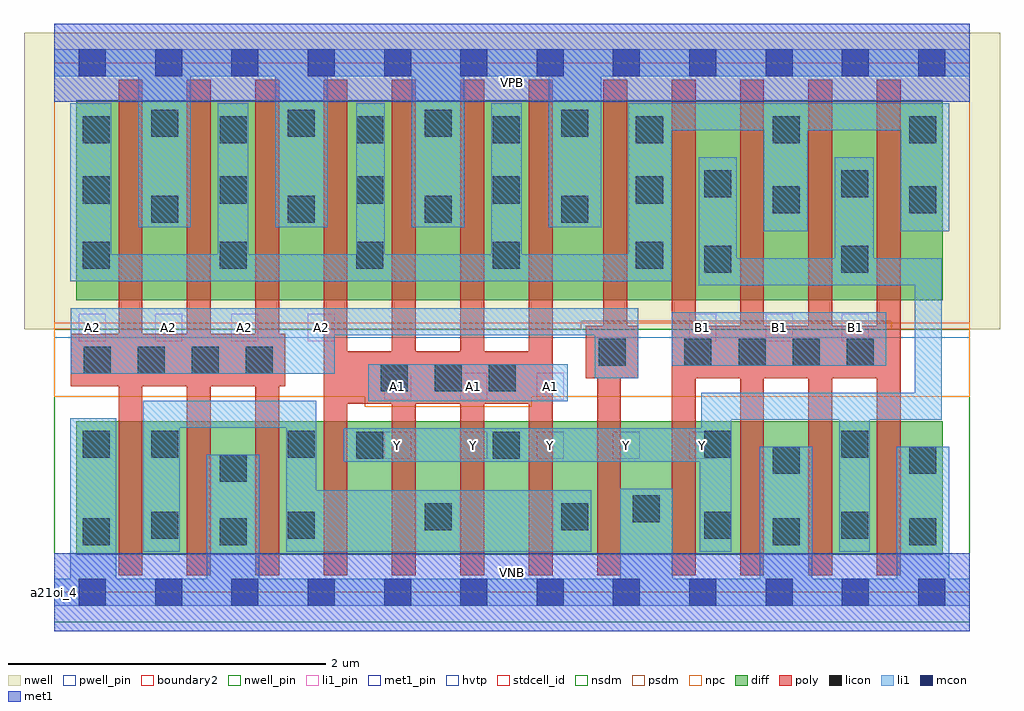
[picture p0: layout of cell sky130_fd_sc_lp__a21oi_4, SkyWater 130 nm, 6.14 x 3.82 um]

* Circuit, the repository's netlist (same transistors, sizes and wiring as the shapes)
* Copyright 2020 The SkyWater PDK Authors
*
* Licensed under the Apache License, Version 2.0 (the "License");
* you may not use this file except in compliance with the License.
* You may obtain a copy of the License at
*
*     https://www.apache.org/licenses/LICENSE-2.0
*
* Unless required by applicable law or agreed to in writing, software
* distributed under the License is distributed on an "AS IS" BASIS,
* WITHOUT WARRANTIES OR CONDITIONS OF ANY KIND, either express or implied.
* See the License for the specific language governing permissions and
* limitations under the License.
*
* SPDX-License-Identifier: Apache-2.0

.SUBCKT sky130_fd_sc_lp__a21oi_4 A1 A2 B1 VGND VNB VPB VPWR Y
*.PININFO A1:I A2:I B1:I VGND:I VNB:I VPB:I VPWR:I Y:O
MMPA0 pndA A1 VPWR VPB sky130_fd_pr__pfet_01v8_hvt m=4 w=1.26U l=0.15U mult=1 sa=0.265
+ sb=0.265 sd=0.28 area=0.063 perim=1.14
MMPA1 pndA A2 VPWR VPB sky130_fd_pr__pfet_01v8_hvt m=4 w=1.26U l=0.15U mult=1 sa=0.265
+ sb=0.265 sd=0.28 area=0.063 perim=1.14
MMPB0 Y B1 pndA VPB sky130_fd_pr__pfet_01v8_hvt m=4 w=1.26U l=0.15U mult=1 sa=0.265
+ sb=0.265 sd=0.28 area=0.063 perim=1.14
MMNA0 Y A1 sndA1 VNB sky130_fd_pr__nfet_01v8 m=4 w=0.84U l=0.15U mult=1 sa=0.265
+ sb=0.265 sd=0.28 area=0.063 perim=1.14
MMNA1 sndA1 A2 VGND VNB sky130_fd_pr__nfet_01v8 m=4 w=0.84U l=0.15U mult=1 sa=0.265
+ sb=0.265 sd=0.28 area=0.063 perim=1.14
MMNB0 Y B1 VGND VNB sky130_fd_pr__nfet_01v8 m=4 w=0.84U l=0.15U mult=1 sa=0.265
+ sb=0.265 sd=0.28 area=0.063 perim=1.14
.ENDS sky130_fd_sc_lp__a21oi_4

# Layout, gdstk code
import gdstk
lib = gdstk.Library(unit=1e-6, precision=1e-09)
def R(c, l, rs):  # rectangles x0, y0, x1, y1
    for r in rs: c.add(gdstk.rectangle(r[:2], r[2:], *l))
def A(c, l, x, y, w, h, nx, ny, dx, dy):  # array of equal rectangles
    R(c, l, [(x+i*dx, y+j*dy, x+i*dx+w, y+j*dy+h) for i in range(nx) for j in range(ny)])
def P(c, l, *ps):  # polygons
    for p in ps: c.add(gdstk.Polygon(p, *l))
nwell_pin = (64, 16)
nwell = (64, 20)
diff = (65, 20)
poly = (66, 20)
licon = (66, 44)
li1_pin = (67, 16)
li1 = (67, 20)
mcon = (67, 44)
met1_pin = (68, 16)
met1 = (68, 20)
hvtp = (78, 44)
stdcell_id = (81, 4)
nsdm = (93, 44)
psdm = (94, 20)
npc = (95, 20)
pwell_pin = (122, 16)
boundary2 = (236, 0)

sky130_fd_sc_lp__a21oi_4 = lib.new_cell('sky130_fd_sc_lp__a21oi_4')
R(sky130_fd_sc_lp__a21oi_4, nwell_pin, [(0,3.085,5.76,3.33)])
R(sky130_fd_sc_lp__a21oi_4, nwell, [(-0.19,1.655,5.95,3.52)])
R(sky130_fd_sc_lp__a21oi_4, diff, [(0.14,0.235,5.59,1.075), (0.14,1.835,5.59,3.095)])
P(sky130_fd_sc_lp__a21oi_4, poly, [(1.455,1.625),(1.415,1.625),(1.415,3.225),(1.265,3.225),(1.265,1.625),(0.985,1.625),(0.985,3.225),(0.835,3.225),(0.835,1.625),(0.555,1.625),(0.555,3.225),(0.405,3.225),(0.405,1.625),(0.105,1.625),(0.105,1.295),(0.405,1.295),(0.405,0.105),(0.555,0.105),(0.555,1.295),(0.835,1.295),(0.835,0.105),(0.985,0.105),(0.985,1.295),(1.265,1.295),(1.265,0.105),(1.415,0.105),(1.415,1.295),(1.455,1.295)],
  [(3.135,3.225),(2.985,3.225),(2.985,1.515),(2.705,1.515),(2.705,3.225),(2.555,3.225),(2.555,1.515),(2.275,1.515),(2.275,3.225),(2.125,3.225),(2.125,1.515),(1.845,1.515),(1.845,3.225),(1.695,3.225),(1.695,0.105),(1.845,0.105),(1.845,1.185),(2.125,1.185),(2.125,0.105),(2.275,0.105),(2.275,1.185),(2.555,1.185),(2.555,0.105),(2.705,0.105),(2.705,1.185),(2.985,1.185),(2.985,0.105),(3.135,0.105)],
  [(3.675,1.675),(3.605,1.675),(3.605,3.225),(3.455,3.225),(3.455,1.675),(3.345,1.675),(3.345,1.345),(3.415,1.345),(3.415,0.105),(3.565,0.105),(3.565,1.345),(3.675,1.345)],
  [(5.325,3.225),(5.175,3.225),(5.175,1.675),(4.895,1.675),(4.895,3.225),(4.745,3.225),(4.745,1.675),(4.465,1.675),(4.465,3.225),(4.315,3.225),(4.315,1.675),(4.035,1.675),(4.035,3.225),(3.885,3.225),(3.885,0.105),(4.035,0.105),(4.035,1.345),(4.315,1.345),(4.315,0.105),(4.465,0.105),(4.465,1.345),(4.745,1.345),(4.745,0.105),(4.895,0.105),(4.895,1.345),(5.175,1.345),(5.175,0.105),(5.325,0.105)])
A(sky130_fd_sc_lp__a21oi_4, licon, 2.055, 1.265, 0.17, 0.17, 3, 1, 0.34, 0)
A(sky130_fd_sc_lp__a21oi_4, licon, 0.185, 1.375, 0.17, 0.17, 4, 1, 0.34, 0)
A(sky130_fd_sc_lp__a21oi_4, licon, 3.965, 1.425, 0.17, 0.17, 4, 1, 0.34, 0)
A(sky130_fd_sc_lp__a21oi_4, licon, 0.18, 2.035, 0.17, 0.17, 4, 2, 0.86, 0.41)
A(sky130_fd_sc_lp__a21oi_4, licon, 0.61, 2.325, 0.17, 0.17, 4, 2, 0.86, 0.54)
A(sky130_fd_sc_lp__a21oi_4, licon, 0.18, 2.825, 0.17, 0.17, 4, 1, 0.86, 0)
A(sky130_fd_sc_lp__a21oi_4, licon, 3.66, 2.825, 0.17, 0.17, 3, 1, 0.86, 0)
R(sky130_fd_sc_lp__a21oi_4, licon, [(0.18,0.295,0.35,0.465), (1.04,0.295,1.21,0.465), (4.52,0.295,4.69,0.465), (5.38,0.295,5.55,0.465), (0.61,0.335,0.78,0.505), (1.47,0.335,1.64,0.505), (4.09,0.335,4.26,0.505), (4.95,0.335,5.12,0.505), (2.33,0.39,2.5,0.56), (3.19,0.39,3.36,0.56), (3.64,0.44,3.81,0.61), (1.04,0.695,1.21,0.865), (4.52,0.745,4.69,0.915), (5.38,0.745,5.55,0.915), (1.9,0.84,2.07,1.01), (2.76,0.84,2.93,1.01), (0.18,0.845,0.35,1.015), (0.61,0.845,0.78,1.015), (1.47,0.845,1.64,1.015), (4.09,0.845,4.26,1.015), (4.95,0.845,5.12,1.015), (3.425,1.425,3.595,1.595), (4.09,2.01,4.26,2.18), (4.95,2.01,5.12,2.18), (3.66,2.035,3.83,2.205), (4.52,2.385,4.69,2.555), (5.38,2.385,5.55,2.555), (3.66,2.445,3.83,2.615), (4.09,2.485,4.26,2.655), (4.95,2.485,5.12,2.655)])
A(sky130_fd_sc_lp__a21oi_4, li1_pin, 2.075, 0.84, 0.17, 0.17, 5, 1, 0.48, 0)
A(sky130_fd_sc_lp__a21oi_4, li1_pin, 2.075, 1.21, 0.17, 0.17, 3, 1, 0.48, 0)
A(sky130_fd_sc_lp__a21oi_4, li1_pin, 0.155, 1.58, 0.17, 0.17, 4, 1, 0.48, 0)
A(sky130_fd_sc_lp__a21oi_4, li1_pin, 3.995, 1.58, 0.17, 0.17, 3, 1, 0.48, 0)
R(sky130_fd_sc_lp__a21oi_4, li1, [(1.975,1.2,3.23,1.435), (3.885,1.425,5.235,1.76)])
P(sky130_fd_sc_lp__a21oi_4, li1, [(3.11,2.295),(3.11,3.245),(2.58,3.245),(2.58,2.295),(2.25,2.295),(2.25,3.245),(1.72,3.245),(1.72,2.295),(1.39,2.295),(1.39,3.245),(0.86,3.245),(0.86,2.295),(0.53,2.295),(0.53,3.245),(0,3.245),(0,3.415),(5.76,3.415),(5.76,3.245),(3.44,3.245),(3.44,2.295)],
  [(3.56,0.085),(3.56,0.65),(3.89,0.65),(3.89,0.085),(4.44,0.085),(4.44,0.915),(4.77,0.915),(4.77,0.085),(5.3,0.085),(5.3,0.915),(5.63,0.915),(5.63,0.085),(5.76,0.085),(5.76,-0.085),(0,-0.085),(0,0.085),(0.1,0.085),(0.1,1.095),(0.39,1.095),(0.39,0.085),(0.96,0.085),(0.96,0.865),(1.29,0.865),(1.29,0.085)],
  [(3.675,1.785),(3.675,1.345),(3.4,1.345),(3.4,1.615),(1.765,1.615),(1.765,1.375),(0.105,1.375),(0.105,1.785)],
  [(5.325,2.905),(4.74,2.905),(4.74,2.27),(4.465,2.27),(4.465,2.905),(3.885,2.905),(3.885,1.955),(0.1,1.955),(0.1,3.075),(0.36,3.075),(0.36,2.125),(1.03,2.125),(1.03,3.075),(1.22,3.075),(1.22,2.125),(1.9,2.125),(1.9,3.075),(2.08,3.075),(2.08,2.125),(2.75,2.125),(2.75,3.075),(2.94,3.075),(2.94,2.125),(3.61,2.125),(3.61,3.075),(5.63,3.075),(5.63,2.27),(5.325,2.27)],
  [(4.295,2.1),(4.91,2.1),(4.91,2.735),(5.155,2.735),(5.155,2.1),(5.585,2.1),(5.585,1.085),(5.13,1.085),(5.13,0.255),(4.94,0.255),(4.94,1.085),(4.26,1.085),(4.26,0.255),(4.06,0.255),(4.06,0.82),(1.82,0.82),(1.82,1.03),(4.07,1.03),(4.07,1.255),(5.415,1.255),(5.415,1.93),(4.055,1.93),(4.055,2.735),(4.295,2.735)],
  [(1.65,0.64),(3.38,0.64),(3.38,0.255),(1.46,0.255),(1.46,1.035),(0.79,1.035),(0.79,0.255),(0.56,0.255),(0.56,1.205),(1.65,1.205)])
A(sky130_fd_sc_lp__a21oi_4, mcon, 0.155, -0.085, 0.17, 0.17, 12, 2, 0.48, 3.33)
R(sky130_fd_sc_lp__a21oi_4, met1_pin, [(0,0,5.76,0.245), (0,3.085,5.76,3.33)])
R(sky130_fd_sc_lp__a21oi_4, met1, [(0,-0.245,5.76,0.245), (0,3.085,5.76,3.575)])
R(sky130_fd_sc_lp__a21oi_4, hvtp, [(0,1.6,5.76,3.33)])
R(sky130_fd_sc_lp__a21oi_4, stdcell_id, [(0,0,5.76,3.33)])
R(sky130_fd_sc_lp__a21oi_4, nsdm, [(0,-0.19,5.76,1.655)])
P(sky130_fd_sc_lp__a21oi_4, psdm, [(5.76,3.52),(0,3.52),(0,1.655),(3.315,1.655),(3.315,1.705),(5.265,1.705),(5.265,1.655),(5.76,1.655)])
P(sky130_fd_sc_lp__a21oi_4, npc, [(5.76,1.695),(0,1.695),(0,1.23),(1.955,1.23),(1.955,1.165),(3.005,1.165),(3.005,1.23),(5.76,1.23)])
R(sky130_fd_sc_lp__a21oi_4, pwell_pin, [(0,0,5.76,0.245)])
R(sky130_fd_sc_lp__a21oi_4, boundary2, [(0,0,5.76,3.33)])
sky130_fd_sc_lp__a21oi_4.add(gdstk.Label('VNB', (2.88,0.123), layer=64, texttype=59))
sky130_fd_sc_lp__a21oi_4.add(gdstk.Label('VPB', (2.88,3.208), layer=64, texttype=5))
sky130_fd_sc_lp__a21oi_4.add(gdstk.Label('a21oi_4', (0,0), layer=83, texttype=44))
sky130_fd_sc_lp__a21oi_4.add(gdstk.Label('VPWR', (2.88,3.208), layer=68, texttype=5))
sky130_fd_sc_lp__a21oi_4.add(gdstk.Label('VGND', (2.88,0.123), layer=68, texttype=5))
sky130_fd_sc_lp__a21oi_4.add(gdstk.Label('A1', (2.16,1.295), layer=67, texttype=5))
sky130_fd_sc_lp__a21oi_4.add(gdstk.Label('A1', (2.64,1.295), layer=67, texttype=5))
sky130_fd_sc_lp__a21oi_4.add(gdstk.Label('A1', (3.12,1.295), layer=67, texttype=5))
sky130_fd_sc_lp__a21oi_4.add(gdstk.Label('A2', (0.24,1.665), layer=67, texttype=5))
sky130_fd_sc_lp__a21oi_4.add(gdstk.Label('A2', (0.72,1.665), layer=67, texttype=5))
sky130_fd_sc_lp__a21oi_4.add(gdstk.Label('A2', (1.2,1.665), layer=67, texttype=5))
sky130_fd_sc_lp__a21oi_4.add(gdstk.Label('A2', (1.68,1.665), layer=67, texttype=5))
sky130_fd_sc_lp__a21oi_4.add(gdstk.Label('B1', (4.08,1.665), layer=67, texttype=5))
sky130_fd_sc_lp__a21oi_4.add(gdstk.Label('B1', (4.56,1.665), layer=67, texttype=5))
sky130_fd_sc_lp__a21oi_4.add(gdstk.Label('B1', (5.04,1.665), layer=67, texttype=5))
sky130_fd_sc_lp__a21oi_4.add(gdstk.Label('Y', (2.16,0.925), layer=67, texttype=5))
sky130_fd_sc_lp__a21oi_4.add(gdstk.Label('Y', (2.64,0.925), layer=67, texttype=5))
sky130_fd_sc_lp__a21oi_4.add(gdstk.Label('Y', (3.12,0.925), layer=67, texttype=5))
sky130_fd_sc_lp__a21oi_4.add(gdstk.Label('Y', (3.6,0.925), layer=67, texttype=5))
sky130_fd_sc_lp__a21oi_4.add(gdstk.Label('Y', (4.08,0.925), layer=67, texttype=5))

lib.write_gds('sky130_fd_sc_lp__a21oi_4.gds')
